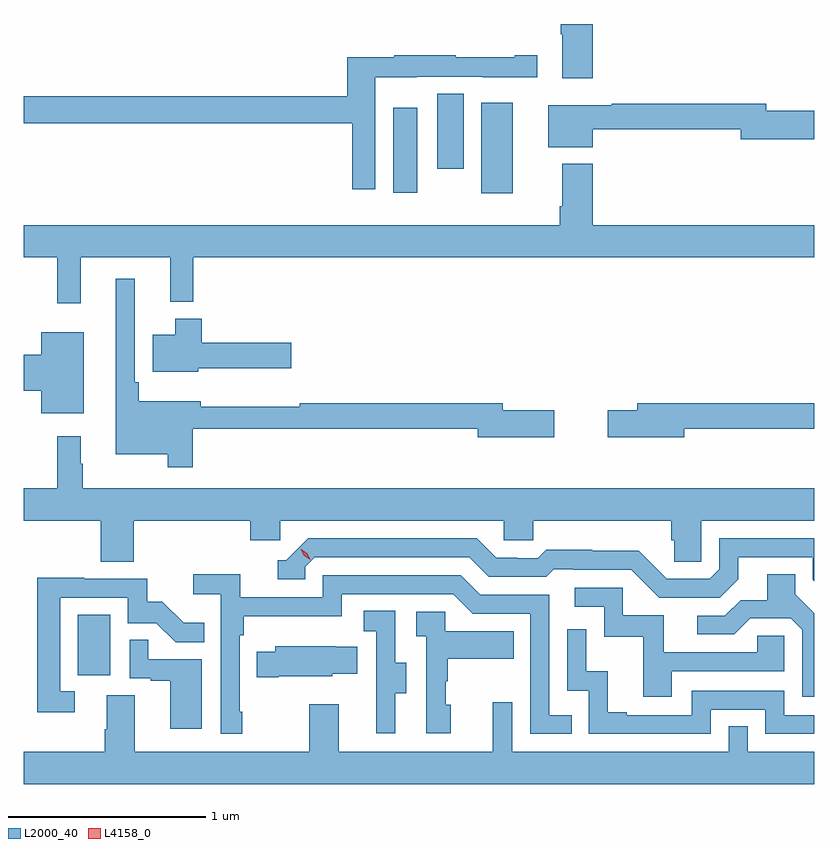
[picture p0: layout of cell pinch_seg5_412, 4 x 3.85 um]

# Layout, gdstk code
import gdstk
lib = gdstk.Library(unit=1e-6, precision=1e-09)
def R(c, l, rs):  # rectangles x0, y0, x1, y1
    for r in rs: c.add(gdstk.rectangle(r[:2], r[2:], *l))
def P(c, l, *ps):  # polygons
    for p in ps: c.add(gdstk.Polygon(p, *l))
L2000_40 = (2000, 40)
L4158_0 = (4158, 0)

pinch_seg5_412 = lib.new_cell('pinch_seg5_412')
R(pinch_seg5_412, L2000_40, [(993.158,862.638,993.322,862.945), (995.198,865.077,995.359,865.534), (994.754,865.08,994.876,865.51), (994.976,865.2,995.11,865.58)])
P(pinch_seg5_412, L2000_40, [(995.762,865.933),(995.602,865.933),(995.602,865.88),(995.609,865.88),(995.609,865.659),(995.762,865.659)],
  [(994.662,865.664),(994.872,865.664),(994.872,865.665),(995.206,865.665),(995.206,865.664),(995.482,865.664),(995.482,865.774),(995.369,865.774),(995.369,865.764),(995.069,865.764),(995.069,865.774),(994.759,865.774),(994.759,865.764),(994.52,865.764),(994.52,865.568),(992.884,865.568),(992.884,865.432),(994.546,865.432),(994.546,865.098),(994.662,865.098)],
  [(995.764,865.401),(996.512,865.401),(996.512,865.351),(996.884,865.351),(996.884,865.493),(996.64,865.493),(996.64,865.529),(995.86,865.529),(995.86,865.522),(995.537,865.522),(995.537,865.31),(995.764,865.31)],
  [(993.173,864.752),(993.626,864.752),(993.626,864.527),(993.743,864.527),(993.743,864.752),(996.884,864.752),(996.884,864.916),(995.762,864.916),(995.762,865.225),(995.609,865.225),(995.609,865.012),(995.597,865.012),(995.597,864.916),(992.884,864.916),(992.884,864.752),(993.055,864.752),(993.055,864.519),(993.173,864.519)],
  [(993.74,863.886),(995.18,863.886),(995.18,863.843),(995.569,863.843),(995.569,863.978),(995.308,863.978),(995.308,864.014),(994.28,864.014),(994.28,863.996),(993.78,863.996),(993.78,864.025),(993.467,864.025),(993.467,864.121),(993.447,864.121),(993.447,864.643),(993.35,864.643),(993.35,863.756),(993.612,863.756),(993.612,863.691),(993.74,863.691)],
  [(993.768,864.191),(994.237,864.191),(994.237,864.321),(993.785,864.321),(993.785,864.442),(993.65,864.442),(993.65,864.361),(993.536,864.361),(993.536,864.173),(993.768,864.173)],
  [(993.187,864.373),(992.972,864.373),(992.972,864.26),(992.884,864.26),(992.884,864.077),(992.972,864.077),(992.972,863.963),(993.187,863.963)],
  [(996.226,863.886),(996.884,863.886),(996.884,864.014),(995.987,864.014),(995.987,863.978),(995.838,863.978),(995.838,863.843),(996.226,863.843)],
  [(993.44,863.42),(994.031,863.42),(994.031,863.322),(994.182,863.322),(994.182,863.42),(995.313,863.42),(995.313,863.322),(995.463,863.322),(995.463,863.42),(996.161,863.42),(996.161,863.322),(996.175,863.322),(996.175,863.212),(996.312,863.212),(996.312,863.42),(996.884,863.42),(996.884,863.584),(993.184,863.584),(993.184,863.708),(993.172,863.708),(993.172,863.848),(993.055,863.848),(993.055,863.584),(992.884,863.584),(992.884,863.42),(993.275,863.42),(993.275,863.212),(993.44,863.212)],
  [(996.499,863.125),(996.499,863.235),(996.876,863.235),(996.876,863.121),(996.884,863.113),(996.884,863.331),(996.402,863.331),(996.402,863.175),(996.354,863.127),(996.138,863.127),(995.996,863.269),(995.76,863.269),(995.76,863.272),(995.527,863.272),(995.485,863.229),(995.382,863.229),(995.382,863.232),(995.275,863.232),(995.176,863.331),(994.323,863.331),(994.212,863.22),(994.169,863.22),(994.169,863.124),(994.308,863.124),(994.308,863.187),(994.356,863.235),(995.139,863.235),(995.238,863.136),(995.527,863.136),(995.566,863.175),(995.665,863.175),(995.665,863.172),(995.958,863.172),(996.099,863.031),(996.405,863.031)],
  [(996.884,862.951),(996.787,863.048),(996.787,863.15),(996.647,863.15),(996.647,863.018),(996.512,863.018),(996.432,862.938),(996.291,862.938),(996.291,862.845),(996.478,862.845),(996.559,862.926),(996.765,862.926),(996.822,862.869),(996.822,862.53),(996.884,862.53)],
  [(993.991,862.453),(993.978,862.453),(993.978,862.841),(993.998,862.841),(993.998,862.937),(994.494,862.937),(994.494,863.049),(995.058,863.049),(995.157,862.95),(995.448,862.95),(995.448,862.341),(995.657,862.341),(995.657,862.437),(995.544,862.437),(995.544,863.046),(995.194,863.046),(995.095,863.145),(994.398,863.145),(994.398,863.034),(993.98,863.034),(993.98,863.15),(993.741,863.15),(993.741,863.048),(993.882,863.048),(993.882,862.341),(993.991,862.341)],
  [(993.142,862.557),(993.069,862.557),(993.069,863.031),(993.411,863.031),(993.411,862.902),(993.555,862.902),(993.653,862.804),(993.797,862.804),(993.797,862.903),(993.693,862.903),(993.586,863.01),(993.51,863.01),(993.51,863.127),(993.191,863.127),(993.191,863.132),(992.953,863.132),(992.953,862.452),(993.142,862.452)],
  [(996.163,862.659),(996.732,862.659),(996.732,862.839),(996.595,862.839),(996.595,862.755),(996.121,862.755),(996.121,862.941),(995.916,862.941),(995.916,863.082),(995.673,863.082),(995.673,862.986),(995.82,862.986),(995.82,862.833),(996.019,862.833),(996.019,862.53),(996.163,862.53)],
  [(994.765,862.546),(994.819,862.546),(994.819,862.701),(994.764,862.701),(994.764,862.964),(994.605,862.964),(994.605,862.861),(994.668,862.861),(994.668,862.557),(994.667,862.557),(994.667,862.344),(994.765,862.344)],
  [(995.044,862.488),(995.019,862.488),(995.019,862.607),(995.029,862.607),(995.029,862.721),(995.363,862.721),(995.363,862.861),(995.016,862.861),(995.016,862.959),(994.869,862.959),(994.869,862.835),(994.92,862.835),(994.92,862.344),(995.044,862.344)],
  [(996.36,862.464),(996.636,862.464),(996.636,862.341),(996.884,862.341),(996.884,862.437),(996.732,862.437),(996.732,862.56),(996.264,862.56),(996.264,862.437),(995.935,862.437),(995.935,862.45),(995.84,862.45),(995.84,862.658),(995.73,862.658),(995.73,862.87),(995.634,862.87),(995.634,862.56),(995.742,862.56),(995.742,862.341),(996.36,862.341)],
  [(993.784,862.719),(993.515,862.719),(993.515,862.817),(993.42,862.817),(993.42,862.623),(993.527,862.623),(993.527,862.611),(993.626,862.611),(993.626,862.368),(993.784,862.368)],
  [(994.174,862.634),(994.446,862.634),(994.446,862.646),(994.571,862.646),(994.571,862.783),(994.463,862.783),(994.463,862.786),(994.157,862.786),(994.157,862.756),(994.063,862.756),(994.063,862.627),(994.174,862.627)],
  [(996.884,862.252),(996.546,862.252),(996.546,862.379),(996.45,862.379),(996.45,862.252),(995.355,862.252),(995.355,862.501),(995.258,862.501),(995.258,862.252),(994.477,862.252),(994.477,862.492),(994.33,862.492),(994.33,862.252),(993.445,862.252),(993.445,862.538),(993.305,862.538),(993.305,862.364),(993.293,862.364),(993.293,862.252),(992.884,862.252),(992.884,862.088),(996.884,862.088)])
P(pinch_seg5_412, L4158_0, [(994.333,863.222),(994.303,863.242),(994.287,863.275),(994.287,863.275),(994.288,863.275),(994.318,863.255),(994.333,863.222),(994.333,863.222)])

lib.write_gds('pinch_seg5_412.gds')
